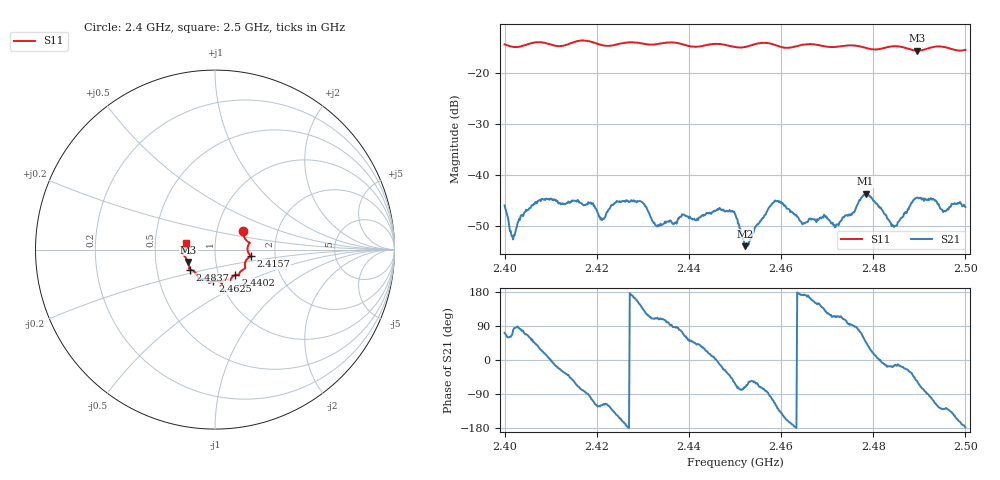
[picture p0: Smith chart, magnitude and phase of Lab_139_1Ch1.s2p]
# Hz S RI R 50
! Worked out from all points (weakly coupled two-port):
!   601 points, 2.4 GHz to 2.5 GHz, reference 50 ohm
!   highest |S21| = -43.63 dB at 2.4783 GHz (marker M1); lowest = -53.9 dB at 2.4522 GHz (marker M2)
!   lowest |S11| = -15.7 dB at 2.4895 GHz (marker M3), VSWR 1.39, Z = 36.7 - j5.15 ohm
!   |S11| at or under -10 dB: start of sweep to end of sweep
!   S12 and S22 are empty: the file has one direction only
!   S11 on the Smith chart (normalised r, x): 2.4 GHz: 1.33, +0.29; 2.4157 GHz: 1.49, -0.11; 2.4402 GHz: 1.20, -0.35; 2.4625 GHz: 0.92, -0.34; 2.4837 GHz: 0.74, -0.17; 2.5 GHz: 0.72, +0.05
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2.4e9  0.156 0.1056  0.00158 0.00479  0 0  0 0
2.401833e9  0.1597 0.0782  0.000455 0.0023  0 0  0 0
2.407167e9  0.1941 0.0389  0.00435 0.00339  0 0  0 0
2.415667e9  0.1989 -0.0359  0.00222 -0.00501  0 0  0 0
2.416667e9  0.2017 -0.0394  0.00109 -0.00517  0 0  0 0
2.421333e9  0.1753 -0.0566  -0.00174 -0.00331  0 0  0 0
2.424167e9  0.1661 -0.0864  -0.00436 -0.0032  0 0  0 0
2.429333e9  0.1611 -0.1081  -0.00467 0.00302  0 0  0 0
2.433333e9  0.1356 -0.1341  -0.00104 0.00308  0 0  0 0
2.440167e9  0.1141 -0.1406  0.0024 0.00311  0 0  0 0
2.45e9  0.0639 -0.1656  0.00193 -0.00367  0 0  0 0
2.452167e9  0.0446 -0.1721  0.000618 -0.00192  0 0  0 0
2.4585e9  0.0331 -0.1843  -0.00208 -0.00504  0 0  0 0
2.4625e9  -0.00981 -0.1768  -0.00424 -0.000664  0 0  0 0
2.466667e9  -0.0333 -0.1864  -0.00347 0.00139  0 0  0 0
2.472e9  -0.0678 -0.165  -0.00142 0.00295  0 0  0 0
2.478333e9  -0.1008 -0.142  0.00436 0.00493  0 0  0 0
2.483333e9  -0.1384 -0.1121  0.00351 -0.00105  0 0  0 0
2.483667e9  -0.1403 -0.1119  0.00333 -0.001  0 0  0 0
2.4895e9  -0.1487 -0.0682  0.00343 -0.00492  0 0  0 0
2.495333e9  -0.1768 -0.0194  -0.00278 -0.00345  0 0  0 0
2.5e9  -0.1627 0.0363  -0.00485 -0.000191  0 0  0 0
